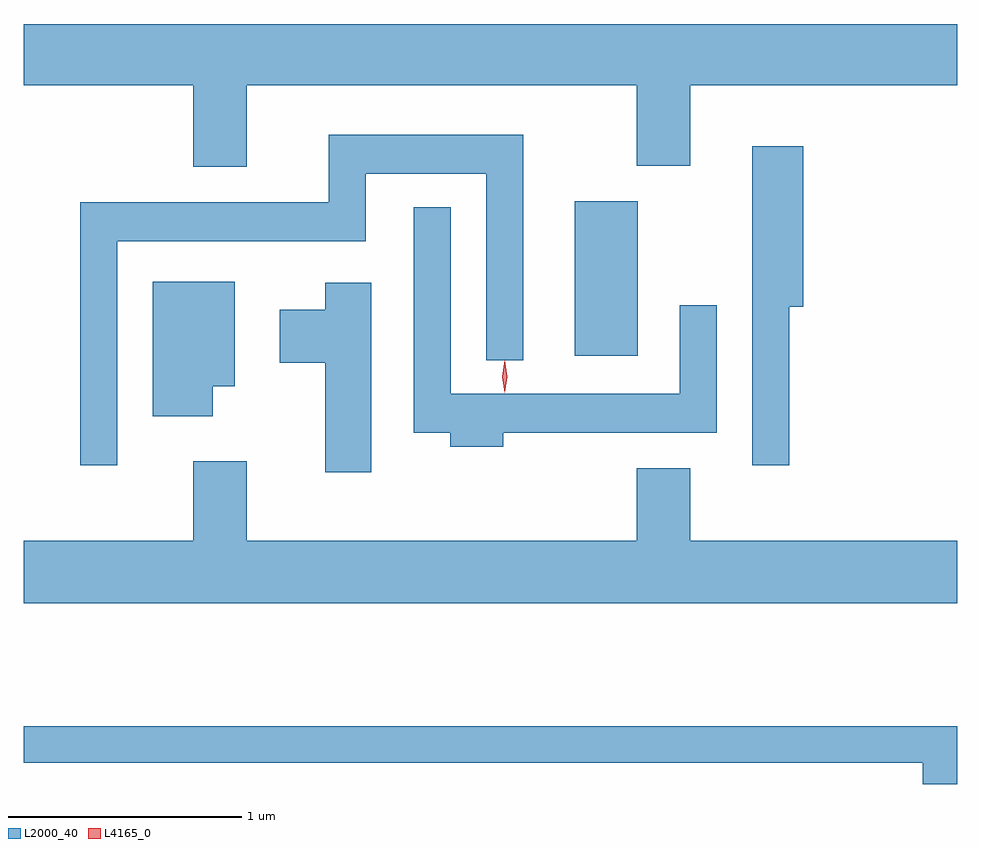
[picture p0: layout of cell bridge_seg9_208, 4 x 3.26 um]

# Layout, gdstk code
import gdstk
lib = gdstk.Library(unit=1e-6, precision=1e-09)
def R(c, l, rs):  # rectangles x0, y0, x1, y1
    for r in rs: c.add(gdstk.rectangle(r[:2], r[2:], *l))
def P(c, l, *ps):  # polygons
    for p in ps: c.add(gdstk.Polygon(p, *l))
L2000_40 = (2000, 40)
L4165_0 = (4165, 0)

bridge_seg9_208 = lib.new_cell('bridge_seg9_208')
R(bridge_seg9_208, L2000_40, [(1479.546,1988.436,1479.814,1989.099)])
P(bridge_seg9_208, L2000_40, [(1478.139,1989.596),(1479.811,1989.596),(1479.811,1989.251),(1480.039,1989.251),(1480.039,1989.596),(1481.184,1989.596),(1481.184,1989.858),(1477.184,1989.858),(1477.184,1989.596),(1477.911,1989.596),(1477.911,1989.246),(1478.139,1989.246)],
  [(1477.584,1988.926),(1478.649,1988.926),(1478.649,1989.216),(1479.166,1989.216),(1479.166,1988.418),(1479.324,1988.418),(1479.324,1989.384),(1478.491,1989.384),(1478.491,1989.094),(1477.426,1989.094),(1477.426,1987.968),(1477.584,1987.968)],
  [(1480.464,1988.646),(1480.524,1988.646),(1480.524,1989.334),(1480.306,1989.334),(1480.306,1987.968),(1480.464,1987.968)],
  [(1479.239,1988.106),(1480.154,1988.106),(1480.154,1988.653),(1479.996,1988.653),(1479.996,1988.274),(1479.014,1988.274),(1479.014,1989.073),(1478.856,1989.073),(1478.856,1988.106),(1479.011,1988.106),(1479.011,1988.046),(1479.239,1988.046)],
  [(1477.994,1988.306),(1478.089,1988.306),(1478.089,1988.754),(1477.736,1988.754),(1477.736,1988.176),(1477.994,1988.176)],
  [(1478.674,1988.749),(1478.476,1988.749),(1478.476,1988.634),(1478.281,1988.634),(1478.281,1988.406),(1478.476,1988.406),(1478.476,1987.936),(1478.674,1987.936)],
  [(1481.184,1987.644),(1480.039,1987.644),(1480.039,1987.954),(1479.811,1987.954),(1479.811,1987.644),(1478.139,1987.644),(1478.139,1987.984),(1477.911,1987.984),(1477.911,1987.644),(1477.184,1987.644),(1477.184,1987.376),(1481.184,1987.376)],
  [(1481.184,1986.849),(1477.184,1986.849),(1477.184,1986.691),(1481.036,1986.691),(1481.036,1986.601),(1481.184,1986.601)])
P(bridge_seg9_208, L4165_0, [(1479.245,1988.277),(1479.244,1988.278),(1479.235,1988.347),(1479.244,1988.416),(1479.245,1988.416),(1479.245,1988.416),(1479.255,1988.347),(1479.245,1988.278)],
  [(1479.246,1988.279),(1479.245,1988.28),(1479.236,1988.346),(1479.245,1988.412),(1479.246,1988.413),(1479.246,1988.412),(1479.256,1988.346),(1479.246,1988.28)])

lib.write_gds('bridge_seg9_208.gds')
